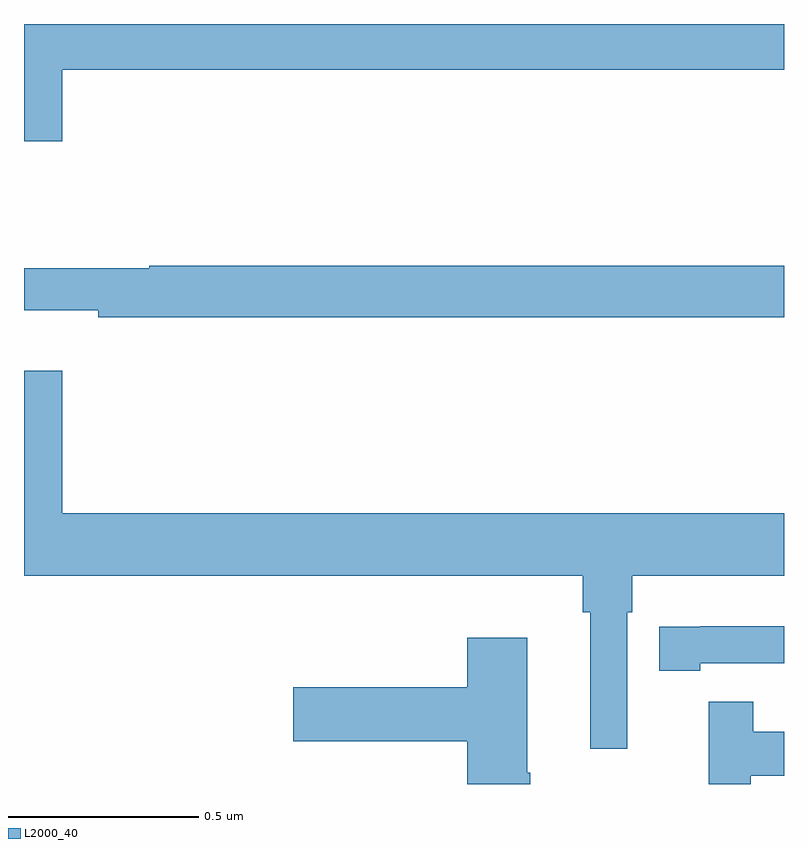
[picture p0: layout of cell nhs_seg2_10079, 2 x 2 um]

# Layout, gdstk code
import gdstk
lib = gdstk.Library(unit=1e-6, precision=1e-09)
def P(c, l, *ps):  # polygons
    for p in ps: c.add(gdstk.Polygon(p, *l))
L2000_40 = (2000, 40)

nhs_seg2_10079 = lib.new_cell('nhs_seg2_10079')
P(nhs_seg2_10079, L2000_40, [(237.1,603.68),(239,603.68),(239,603.8),(237,603.8),(237,603.492),(237.1,603.492)],
  [(239,603.164),(237.329,603.164),(237.329,603.157),(237,603.157),(237,603.047),(237.196,603.047),(237.196,603.028),(239,603.028)],
  [(238.587,602.252),(238.601,602.252),(238.601,602.348),(239,602.348),(239,602.512),(237.1,602.512),(237.1,602.887),(237,602.887),(237,602.348),(238.471,602.348),(238.471,602.252),(238.49,602.252),(238.49,601.893),(238.587,601.893)],
  [(238.78,602.118),(239,602.118),(239,602.215),(238.78,602.215),(238.78,602.214),(238.672,602.214),(238.672,602.098),(238.78,602.098)],
  [(238.332,601.829),(238.324,601.829),(238.324,602.185),(238.166,602.185),(238.166,602.055),(237.708,602.055),(237.708,601.913),(238.166,601.913),(238.166,601.8),(238.332,601.8)],
  [(238.912,601.822),(239,601.822),(239,601.938),(238.919,601.938),(238.919,602.017),(238.802,602.017),(238.802,601.8),(238.912,601.8)])

lib.write_gds('nhs_seg2_10079.gds')
